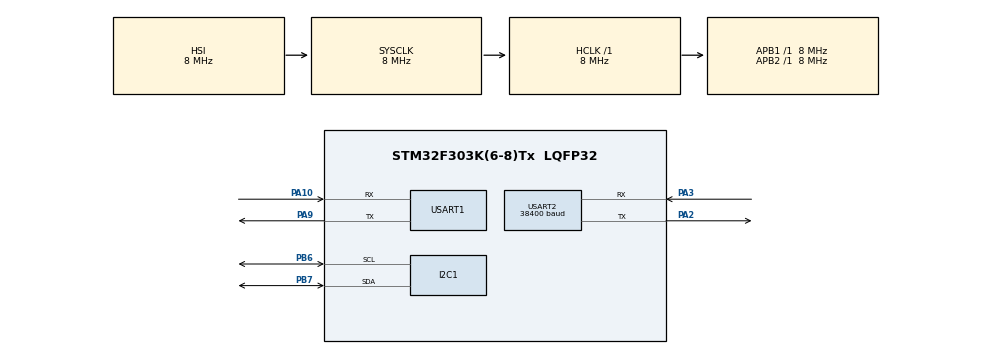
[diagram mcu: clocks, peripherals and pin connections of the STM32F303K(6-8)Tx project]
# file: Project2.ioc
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Mcu.Family=STM32F3
Mcu.Name=STM32F303K(6-8)Tx
Mcu.Package=LQFP32
NVIC.PriorityGroup=NVIC_PRIORITYGROUP_4
NVIC.USART2_IRQn=true\:0\:0\:false\:false\:true\:true\:true
PA10.Mode=Asynchronous
PA10.Signal=USART1_RX
PA13.Mode=Serial_Wire
PA13.Signal=SYS_JTMS-SWDIO
PA14.Mode=Serial_Wire
PA14.Signal=SYS_JTCK-SWCLK
PA2.Mode=Asynchronous
PA2.Signal=USART2_TX
PA3.Mode=Asynchronous
PA3.Signal=USART2_RX
PA9.Mode=Asynchronous
PA9.Signal=USART1_TX
PB6.Mode=I2C
PB6.Signal=I2C1_SCL
PB7.Mode=I2C
PB7.Signal=I2C1_SDA
ProjectManager.HeapSize=0x200
ProjectManager.StackSize=0x400
ProjectManager.TargetToolchain=MDK-ARM V5
RCC.AHBFreq_Value=8000000
RCC.APB1Freq_Value=8000000
RCC.APB2Freq_Value=8000000
RCC.CortexFreq_Value=8000000
RCC.HSE_VALUE=8000000
RCC.HSI_VALUE=8000000
RCC.SYSCLKFreq_VALUE=8000000
USART1.VirtualMode-Asynchronous=VM_ASYNC
USART2.BaudRate=38400
USART2.VirtualMode-Asynchronous=VM_ASYNC
board=custom

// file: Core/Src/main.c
/* USER CODE BEGIN Header */
/**
  ******************************************************************************
  * @file           : main.c
  * @brief          : Main program body
  ******************************************************************************
  * @attention
  *
  * <h2><center>&copy; Copyright (c) 2020 STMicroelectronics.
  * All rights reserved.</center></h2>
  *
  * This software component is licensed by ST under BSD 3-Clause license,
  * the "License"; You may not use this file except in compliance with the
  * License. You may obtain a copy of the License at:
  *                        opensource.org/licenses/BSD-3-Clause
  *
  ******************************************************************************
  */
/* USER CODE END Header */
#include "main.h"

I2C_HandleTypeDef hi2c1;

UART_HandleTypeDef huart1;
UART_HandleTypeDef huart2;

volatile uint8_t UART_rxBuffer[7]; //= {0,0,'\r','\n'};
volatile uint8_t UART_cmd[7];
int flag_receive = 0;
int i = 0;
/* USER CODE BEGIN PV */
//volatile uint8_t UART_rxBuffer[4]; //= {0,0,'\r','\n'};
/* USER CODE END PV */

void SystemClock_Config(void);
static void MX_GPIO_Init(void);
static void MX_I2C1_Init(void);
static void MX_USART2_UART_Init(void);
static void MX_USART1_UART_Init(void);

//volatile uint8_t UART_rxBuffer[4]; //= {0,0,'\r','\n'};
//volatile uint8_t UART_cmd[4];
//int flag_receive = 0;
//int i = 0;

int main(void)
{

  /* MCU Configuration--------------------------------------------------------*/

  /* Reset of all peripherals, Initializes the Flash interface and the Systick. */
  HAL_Init();

  /* Configure the system clock */
  SystemClock_Config();

  /* Initialize all configured peripherals */
  MX_GPIO_Init();
  MX_I2C1_Init();
  MX_USART2_UART_Init();
  MX_USART1_UART_Init();
  /* USER CODE BEGIN 2 */
	//__HAL_UART_DISABLE_IT(&huart2, UART_IT_RXNE);
    uint8_t ctrlBuffer[2];
    uint8_t temp[2];

    ctrlBuffer[0] = 0x0E;
    //turn on temperature conversion - bit 5
    ctrlBuffer[1] = 0x20;

    //the ` is basically the degree symbol
    uint8_t out[] = {'+', 0,0, '.', 0,0, '`','\r','\n'};
		HAL_UART_Receive_IT(&huart2, (uint8_t*)& UART_rxBuffer, 1);
    while (1)
		{
        HAL_Delay(10);
        HAL_I2C_Master_Transmit(&hi2c1, 0xD0, ctrlBuffer, 2, 10);
        HAL_I2C_Mem_Read(&hi2c1, 0xD1, 0x11, 1, temp, 2, 1000);
        int intTemp = temp[0];
        float decTemp = (temp[1] >> 6) / 4.0;

        if (temp[0] >> 7 == 0)
            out[0] = '+';
        else
            out[0] = '-';

        out[1] = (intTemp / 10) + '0';
        out[2] = (intTemp % 10) + '0';
        out[4] = ((int)(decTemp * 10)) + '0';
        out[5] = ((int)(decTemp * 100) % 10) + '0';

        HAL_UART_Transmit(&huart1, out, sizeof(out), 10);

				HAL_Delay(10);
				if (flag_receive == 1)
				{
					// do the action based on the command
					// transmit here is for seeing what is in the cmd buffer on teraterm
					HAL_UART_Transmit(&huart2, (uint8_t*)UART_cmd, sizeof(UART_cmd), 10);

					if (UART_cmd[0] == 'p')
					{
						// power options
						if (UART_cmd[2] == 'N')
						{
							// power == ON
						}
						else if (UART_cmd[2] == 'F')
						{
							// power == OFF
						}

					}

					else if (UART_cmd[0] == 'f')
					{
						// fan options
						if (UART_cmd[1] == 'A')
						{
							// fan == AUTO
						}
						else if (UART_cmd[1] == 'L')
						{
							// fan == LOW
						}
						else if (UART_cmd[1] == 'M')
						{
							// fan == MEDIUM
						}
						else if (UART_cmd[1] == 'H')
						{
							// fan == HIGH
						}
					}

					else if (UART_cmd[0] == 't')
					{
						// temp adjustment
					}

					else
						;

					flag_receive = 0;
				}
				else
					;
				HAL_Delay(100);

				//uint8_t UART_rxBuffer[6] = {0, 0,0, 0,'\r','\n'};
//				HAL_Delay(10);
//				HAL_UART_Receive(&huart2, UART_rxBuffer, sizeof(UART_rxBuffer), 301);
//				HAL_Delay(1);
//				HAL_UART_Transmit(&huart2, UART_rxBuffer, sizeof(UART_rxBuffer), 10);
//				HAL_Delay(1);
//        HAL_Delay(333);
    }
  /* USER CODE END 2 */

  /* Infinite loop */
  while (1)
  {

  }
}

void HAL_UART_RxCpltCallback(UART_HandleTypeDef* huart)
{

  /* USER CODE BEGIN USART2_IRQn 0 */
	if (huart->Instance == USART2)
	{
		if (UART_rxBuffer[0] == '\n')
		{
			UART_cmd[i] = '\0';
			flag_receive = 1;
			i=0;
		}
		else
		{
			UART_cmd[i++] = UART_rxBuffer[0];
		}
		HAL_UART_Receive_IT(&huart2, (uint8_t*) UART_rxBuffer,1);
	}
  /* USER CODE END USART2_IRQn 0 */
}

void SystemClock_Config(void)
{
  RCC_OscInitTypeDef RCC_OscInitStruct = {0};
  RCC_ClkInitTypeDef RCC_ClkInitStruct = {0};
  RCC_PeriphCLKInitTypeDef PeriphClkInit = {0};

  /** Initializes the RCC Oscillators according to the specified parameters
  * in the RCC_OscInitTypeDef structure.
  */
  RCC_OscInitStruct.OscillatorType = RCC_OSCILLATORTYPE_HSI;
  RCC_OscInitStruct.HSIState = RCC_HSI_ON;
  RCC_OscInitStruct.HSICalibrationValue = RCC_HSICALIBRATION_DEFAULT;
  RCC_OscInitStruct.PLL.PLLState = RCC_PLL_NONE;
  if (HAL_RCC_OscConfig(&RCC_OscInitStruct) != HAL_OK)
  {
    Error_Handler();
  }
  /** Initializes the CPU, AHB and APB buses clocks
  */
  RCC_ClkInitStruct.ClockType = RCC_CLOCKTYPE_HCLK|RCC_CLOCKTYPE_SYSCLK
                              |RCC_CLOCKTYPE_PCLK1|RCC_CLOCKTYPE_PCLK2;
  RCC_ClkInitStruct.SYSCLKSource = RCC_SYSCLKSOURCE_HSI;
  RCC_ClkInitStruct.AHBCLKDivider = RCC_SYSCLK_DIV1;
  RCC_ClkInitStruct.APB1CLKDivider = RCC_HCLK_DIV1;
  RCC_ClkInitStruct.APB2CLKDivider = RCC_HCLK_DIV1;

  if (HAL_RCC_ClockConfig(&RCC_ClkInitStruct, FLASH_LATENCY_0) != HAL_OK)
  {
    Error_Handler();
  }
  PeriphClkInit.PeriphClockSelection = RCC_PERIPHCLK_USART1|RCC_PERIPHCLK_I2C1;
  PeriphClkInit.Usart1ClockSelection = RCC_USART1CLKSOURCE_PCLK1;
  PeriphClkInit.I2c1ClockSelection = RCC_I2C1CLKSOURCE_HSI;
  if (HAL_RCCEx_PeriphCLKConfig(&PeriphClkInit) != HAL_OK)
  {
    Error_Handler();
  }
}

static void MX_I2C1_Init(void)
{

  hi2c1.Instance = I2C1;
  hi2c1.Init.Timing = 0x2000090E;
  hi2c1.Init.OwnAddress1 = 0;
  hi2c1.Init.AddressingMode = I2C_ADDRESSINGMODE_7BIT;
  hi2c1.Init.DualAddressMode = I2C_DUALADDRESS_DISABLE;
  hi2c1.Init.OwnAddress2 = 0;
  hi2c1.Init.OwnAddress2Masks = I2C_OA2_NOMASK;
  hi2c1.Init.GeneralCallMode = I2C_GENERALCALL_DISABLE;
  hi2c1.Init.NoStretchMode = I2C_NOSTRETCH_DISABLE;
  if (HAL_I2C_Init(&hi2c1) != HAL_OK)
  {
    Error_Handler();
  }
  /** Configure Analogue filter
  */
  if (HAL_I2CEx_ConfigAnalogFilter(&hi2c1, I2C_ANALOGFILTER_ENABLE) != HAL_OK)
  {
    Error_Handler();
  }
  /** Configure Digital filter
  */
  if (HAL_I2CEx_ConfigDigitalFilter(&hi2c1, 0) != HAL_OK)
  {
    Error_Handler();
  }

}

static void MX_USART1_UART_Init(void)
{

  huart1.Instance = USART1;
  huart1.Init.BaudRate = 38400;
  huart1.Init.WordLength = UART_WORDLENGTH_8B;
  huart1.Init.StopBits = UART_STOPBITS_1;
  huart1.Init.Parity = UART_PARITY_NONE;
  huart1.Init.Mode = UART_MODE_TX_RX;
  huart1.Init.HwFlowCtl = UART_HWCONTROL_NONE;
  huart1.Init.OverSampling = UART_OVERSAMPLING_16;
  huart1.Init.OneBitSampling = UART_ONE_BIT_SAMPLE_DISABLE;
  huart1.AdvancedInit.AdvFeatureInit = UART_ADVFEATURE_NO_INIT;
  if (HAL_UART_Init(&huart1) != HAL_OK)
  {
    Error_Handler();
  }

}

static void MX_USART2_UART_Init(void)
{

  huart2.Instance = USART2;
  huart2.Init.BaudRate = 38400;
  huart2.Init.WordLength = UART_WORDLENGTH_8B;
  huart2.Init.StopBits = UART_STOPBITS_1;
  huart2.Init.Parity = UART_PARITY_NONE;
  huart2.Init.Mode = UART_MODE_TX_RX;
  huart2.Init.HwFlowCtl = UART_HWCONTROL_NONE;
  huart2.Init.OverSampling = UART_OVERSAMPLING_16;
  huart2.Init.OneBitSampling = UART_ONE_BIT_SAMPLE_DISABLE;
  huart2.AdvancedInit.AdvFeatureInit = UART_ADVFEATURE_NO_INIT;
  if (HAL_UART_Init(&huart2) != HAL_OK)
  {
    Error_Handler();
  }

}

static void MX_GPIO_Init(void)
{

  /* GPIO Ports Clock Enable */
  __HAL_RCC_GPIOA_CLK_ENABLE();
  __HAL_RCC_GPIOB_CLK_ENABLE();

}

void Error_Handler(void)
{
}

/************************ (C) COPYRIGHT STMicroelectronics *****END OF FILE****/
